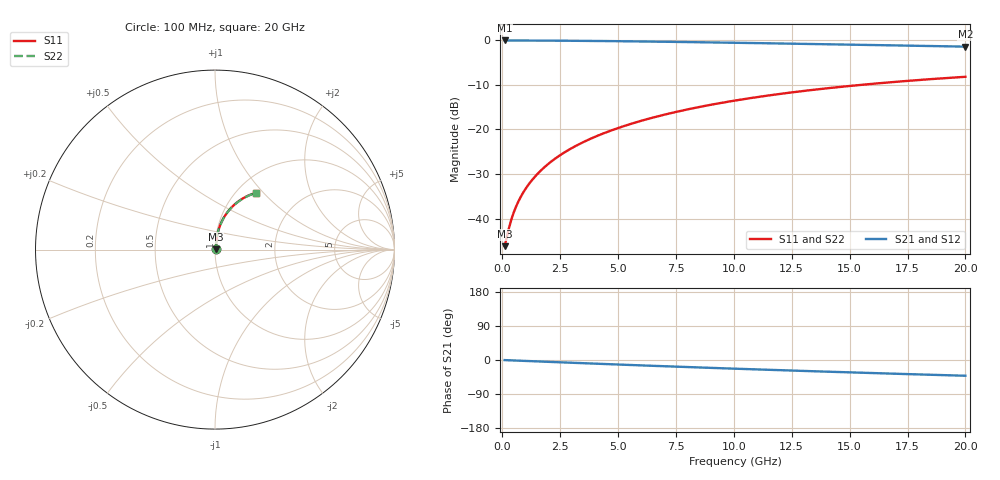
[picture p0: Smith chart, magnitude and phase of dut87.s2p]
! Touchstone file exported from HFSS 2024.1.0
!  File:  C:/UserFiles/LocalFiles/RDL_TSV_Batchsim/temp_RDL_top_87_1778682737.aedt
!  Generated:  10:34:25 PM May 13, 2026
!  Design:  RDL_top
!  Project:  temp_RDL_top_87_1778682737
!  Setup:  Setup1
!  Solution:  Sweep
! Variables:
!  dtsv = 10.80580581um
!  hbump = 3um
!  htsv = 56.43um
!  ldown = 100um
!  lrdl = 599.4um
!  p = 40
!  p1 = 42.12um
!  rhole = 1um
!  t = 450um
!  tdown = 3.915915916um
!  trdl = 2.82um
!  wdown = 15.38538539um
!  wrdl = 17.97um
# GHz S MA R 50.000000
! Terminal data exported
! Port[1] = Box2_T1
! Port[2] = Box2_T2
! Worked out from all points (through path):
!   200 points, 100 MHz to 20 GHz, reference 50 ohm
!   highest |S21| = -0.04 dB at 100 MHz (marker M1); lowest = -1.4 dB at 20 GHz (marker M2)
!   group delay of S21, straight-line fit = 5.75 ps
!   lowest |S11| = -46.2 dB at 100 MHz (marker M3), VSWR 1.01, Z = 50.4 + j0.226 ohm
!   |S11| at or under -10 dB: start of sweep to 15.49 GHz
!   |S22| runs from -46.2 to -8.2 dB; largest |S21 - S12| = 3e-15
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0.1  0.004909 27.2  0.9956 -0.3  0.9956 -0.3  0.004909 27.2
! Gamma 0 0 0 0
! Port Impedance 50 0 50 0
0.3  0.00807 54.7  0.9953 -0.8  0.9953 -0.8  0.00807 54.7
0.4  0.009936 60.8  0.9951 -1.0  0.9951 -1.0  0.009936 60.8
0.5  0.01184 64.9  0.9949 -1.3  0.9949 -1.3  0.01184 64.9
0.6  0.01375 67.8  0.9947 -1.5  0.9947 -1.5  0.01375 67.8
0.7  0.01567 70.1  0.9945 -1.8  0.9945 -1.8  0.01567 70.1
0.9  0.01954 73.3  0.9941 -2.2  0.9941 -2.2  0.01954 73.3
1.2  0.0254 76.3  0.9935 -3.0  0.9935 -3.0  0.0254 76.3
1.4  0.02935 77.6  0.993 -3.5  0.993 -3.5  0.02935 77.6
1.7  0.03532 79.0  0.9923 -4.2  0.9923 -4.2  0.03532 79.0
2.2  0.04541 80.3  0.9908 -5.4  0.9908 -5.4  0.0454 80.3
2.8  0.05766 81.0  0.9885 -6.8  0.9885 -6.8  0.05765 81.0
3.5  0.07214 81.1  0.9854 -8.5  0.9854 -8.5  0.07213 81.1
4.2  0.0868 80.8  0.9817 -10.1  0.9817 -10.1  0.08677 80.8
5  0.1037 80.2  0.977 -12.0  0.977 -12.0  0.1037 80.1
5.9  0.1229 79.1  0.971 -14.0  0.971 -14.0  0.1228 79.0
6.8  0.1422 77.9  0.9645 -16.0  0.9645 -16.0  0.1421 77.8
8.4  0.1763 75.3  0.952 -19.5  0.952 -19.5  0.1762 75.2
10.1  0.212 72.3  0.9377 -23.1  0.9377 -23.1  0.2118 72.2
13.4  0.2777 66.2  0.9085 -29.6  0.9085 -29.6  0.2774 66.1
16.7  0.3372 60.1  0.8785 -35.8  0.8785 -35.8  0.3367 60.0
20  0.3896 54.3  0.8487 -41.6  0.8487 -41.6  0.389 54.2
